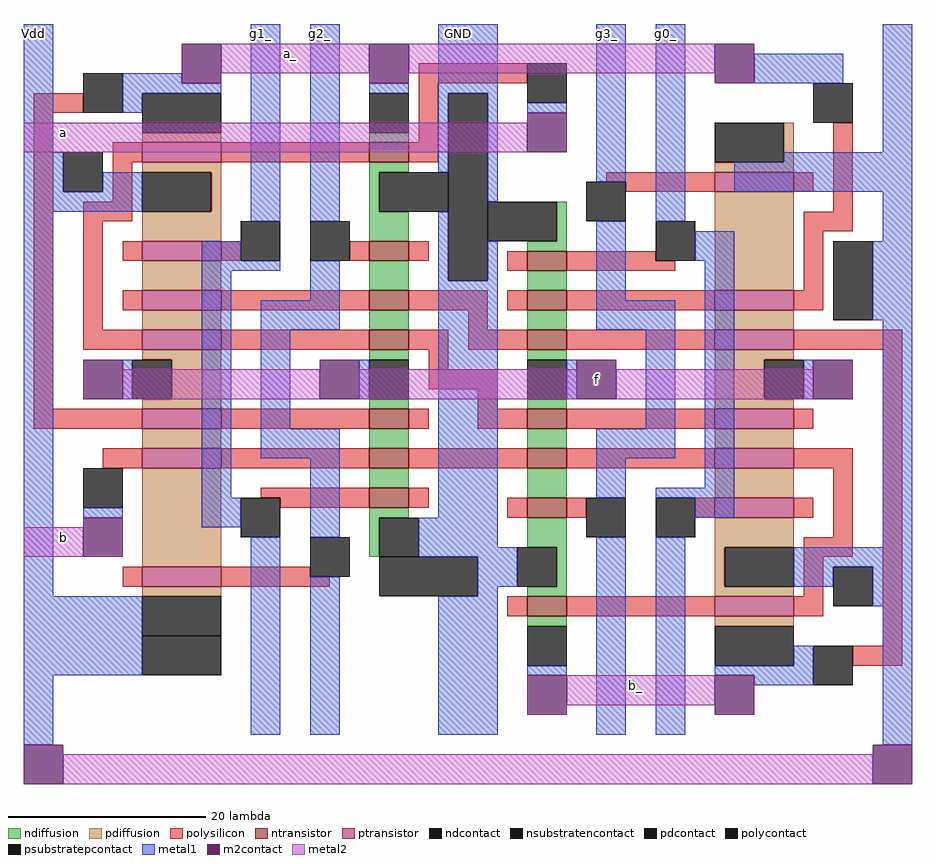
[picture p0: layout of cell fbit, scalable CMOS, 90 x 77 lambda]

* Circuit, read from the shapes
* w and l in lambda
.subckt fbit GND Vdd a a_ b b_ f g0_ g1_ g2_ g3_
M1 n1 g1_ GND GND nfet w=4 l=2
M2 n2 b n1 GND nfet w=4 l=2
M3 f a_ n2 GND nfet w=4 l=2
M4 n3 a f GND nfet w=4 l=2
M5 n4 b_ n3 GND nfet w=4 l=2
M6 GND g2_ n4 GND nfet w=4 l=2
M7 a_ a GND GND nfet w=4 l=2
M8 GND b b_ GND nfet w=4 l=2
M9 n5 g3_ GND GND nfet w=4 l=2
M10 n6 b n5 GND nfet w=4 l=2
M11 f a n6 GND nfet w=4 l=2
M12 n7 b_ f GND nfet w=4 l=2
M13 n8 a_ n7 GND nfet w=4 l=2
M14 GND g0_ n8 GND nfet w=4 l=2
M15 n9 g2_ Vdd Vdd pfet w=8 l=2
M16 n10 b n9 Vdd pfet w=8 l=2
M17 f a_ n10 Vdd pfet w=8 l=2
M18 n11 a f Vdd pfet w=8 l=2
M19 n12 b_ n11 Vdd pfet w=8 l=2
M20 Vdd g1_ n12 Vdd pfet w=8 l=2
M21 a_ a Vdd Vdd pfet w=8 l=2
M22 Vdd b b_ Vdd pfet w=8 l=2
M23 n13 g0_ Vdd Vdd pfet w=8 l=2
M24 n14 b n13 Vdd pfet w=8 l=2
M25 f a n14 Vdd pfet w=8 l=2
M26 n15 b_ f Vdd pfet w=8 l=2
M27 n16 a_ n15 Vdd pfet w=8 l=2
M28 Vdd g3_ n16 Vdd pfet w=8 l=2
.ends

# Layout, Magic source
magic
tech scmos
<< polysilicon >>
rect 1 63 6 65
rect 40 66 51 68
rect 1 33 3 63
rect 40 60 42 66
rect 9 58 12 60
rect 20 58 35 60
rect 39 58 42 60
rect 9 54 11 58
rect 6 52 11 54
rect 6 41 8 52
rect 10 48 12 50
rect 20 48 22 50
rect 33 48 35 50
rect 39 48 41 50
rect 59 56 70 57
rect 61 55 70 56
rect 78 55 80 57
rect 49 47 51 49
rect 55 48 64 49
rect 55 47 66 48
rect 82 53 84 62
rect 79 51 84 53
rect 79 45 81 51
rect 10 43 12 45
rect 20 43 35 45
rect 39 43 47 45
rect 49 43 51 45
rect 55 43 70 45
rect 78 43 81 45
rect 45 41 47 43
rect 6 39 12 41
rect 20 39 35 41
rect 39 39 43 41
rect 45 39 51 41
rect 55 39 70 41
rect 78 39 89 41
rect 41 37 43 39
rect 41 35 48 37
rect 46 33 48 35
rect 1 31 12 33
rect 20 31 35 33
rect 39 31 41 33
rect 46 31 51 33
rect 55 31 70 33
rect 78 31 80 33
rect 8 27 12 29
rect 20 27 35 29
rect 39 27 51 29
rect 55 27 70 29
rect 78 27 84 29
rect 24 24 35 25
rect 26 23 35 24
rect 39 23 41 25
rect 49 22 51 24
rect 55 22 57 24
rect 10 15 12 17
rect 20 16 29 17
rect 68 22 70 24
rect 78 22 80 24
rect 20 15 31 16
rect 82 20 84 27
rect 79 18 84 20
rect 79 14 81 18
rect 49 12 51 14
rect 55 12 70 14
rect 78 12 81 14
rect 87 9 89 39
rect 84 7 89 9
<< ndiffusion >>
rect 35 60 39 61
rect 35 57 39 58
rect 35 53 36 57
rect 35 50 39 53
rect 35 45 39 48
rect 54 50 55 54
rect 51 49 55 50
rect 51 45 55 47
rect 35 41 39 43
rect 51 41 55 43
rect 35 38 39 39
rect 51 38 55 39
rect 35 33 39 34
rect 51 33 55 34
rect 35 29 39 31
rect 51 29 55 31
rect 35 25 39 27
rect 51 24 55 27
rect 35 22 39 23
rect 35 18 36 22
rect 51 19 55 22
rect 54 15 55 19
rect 51 14 55 15
rect 51 11 55 12
<< pdiffusion >>
rect 12 60 20 61
rect 12 57 20 58
rect 19 53 20 57
rect 12 50 20 53
rect 12 45 20 48
rect 77 58 78 62
rect 70 57 78 58
rect 70 45 78 55
rect 12 41 20 43
rect 70 41 78 43
rect 12 38 20 39
rect 15 34 20 38
rect 12 33 20 34
rect 70 38 78 39
rect 70 34 75 38
rect 70 33 78 34
rect 12 29 20 31
rect 70 29 78 31
rect 12 17 20 27
rect 70 24 78 27
rect 12 14 20 15
rect 70 19 78 22
rect 70 15 71 19
rect 70 14 78 15
rect 70 11 78 12
<< metal1 >>
rect 0 59 3 72
rect 10 66 16 67
rect 10 65 20 66
rect 10 63 12 65
rect 0 55 4 59
rect 8 55 12 57
rect 0 53 12 55
rect 0 14 3 53
rect 23 52 26 72
rect 18 48 22 50
rect 18 47 26 48
rect 29 52 32 72
rect 35 65 39 66
rect 42 65 48 72
rect 42 57 43 65
rect 10 34 11 38
rect 6 22 10 23
rect 18 24 21 47
rect 29 44 32 48
rect 24 41 32 44
rect 42 46 43 53
rect 47 54 48 65
rect 51 63 55 64
rect 58 56 61 72
rect 47 46 48 50
rect 24 31 27 41
rect 34 34 35 38
rect 24 28 32 31
rect 18 21 22 24
rect 0 6 12 14
rect 0 -1 3 6
rect 23 0 26 20
rect 29 20 32 28
rect 42 22 48 46
rect 58 44 61 52
rect 64 52 67 72
rect 74 66 83 69
rect 87 59 90 72
rect 77 58 90 59
rect 72 55 90 58
rect 68 48 72 51
rect 87 50 90 55
rect 58 41 66 44
rect 55 34 56 38
rect 63 31 66 41
rect 58 28 66 31
rect 58 24 61 28
rect 69 25 72 48
rect 86 42 90 50
rect 79 34 80 38
rect 40 19 48 22
rect 40 18 50 19
rect 29 0 32 16
rect 46 15 50 18
rect 46 14 48 15
rect 42 0 48 14
rect 51 6 55 7
rect 58 0 61 20
rect 64 24 72 25
rect 68 22 72 24
rect 64 0 67 20
rect 87 19 90 42
rect 78 17 90 19
rect 78 15 82 17
rect 86 13 90 17
rect 78 7 80 9
rect 70 6 80 7
rect 74 5 80 6
rect 87 -1 90 13
<< metal2 >>
rect 20 67 35 70
rect 39 67 70 70
rect 0 59 51 62
rect 10 34 30 37
rect 34 34 56 37
rect 60 34 80 37
rect 0 18 6 21
rect 55 3 70 6
rect 4 -5 86 -2
<< ntransistor >>
rect 35 58 39 60
rect 35 48 39 50
rect 51 47 55 49
rect 35 43 39 45
rect 51 43 55 45
rect 35 39 39 41
rect 51 39 55 41
rect 35 31 39 33
rect 51 31 55 33
rect 35 27 39 29
rect 51 27 55 29
rect 35 23 39 25
rect 51 22 55 24
rect 51 12 55 14
<< ptransistor >>
rect 12 58 20 60
rect 12 48 20 50
rect 70 55 78 57
rect 12 43 20 45
rect 70 43 78 45
rect 12 39 20 41
rect 70 39 78 41
rect 12 31 20 33
rect 70 31 78 33
rect 12 27 20 29
rect 70 27 78 29
rect 12 15 20 17
rect 70 22 78 24
rect 70 12 78 14
<< polycontact >>
rect 6 63 10 67
rect 22 48 26 52
rect 29 48 33 52
rect 51 64 55 68
rect 80 62 84 66
rect 57 52 61 56
rect 64 48 68 52
rect 6 23 10 27
rect 22 20 26 24
rect 29 16 33 20
rect 57 20 61 24
rect 64 20 68 24
rect 80 5 84 9
<< ndcontact >>
rect 35 61 39 65
rect 36 53 43 57
rect 47 50 54 54
rect 35 34 39 38
rect 51 34 55 38
rect 36 18 40 22
rect 50 15 54 19
rect 51 7 55 11
<< pdcontact >>
rect 12 61 20 65
rect 12 53 19 57
rect 70 58 77 62
rect 11 34 15 38
rect 75 34 79 38
rect 71 15 78 19
rect 12 10 20 14
rect 70 7 78 11
<< m2contact >>
rect 16 66 20 70
rect 35 66 39 70
rect 6 34 10 38
rect 6 18 10 22
rect 51 59 55 63
rect 30 34 34 38
rect 70 66 74 70
rect 56 34 60 38
rect 80 34 84 38
rect 51 2 55 6
rect 70 2 74 6
rect 0 -5 4 -1
rect 86 -5 90 -1
<< psubstratepcontact >>
rect 43 46 47 65
rect 36 14 46 18
<< nsubstratencontact >>
rect 4 55 8 59
rect 82 42 86 50
rect 82 13 86 17
rect 12 6 20 10
<< labels >>
rlabel metal2 4 20 4 20 3 b
rlabel metal2 62 5 62 5 1 b_
rlabel metal2 27 69 27 69 5 a_
rlabel metal1 24 71 24 71 5 g1_
rlabel metal1 30 71 30 71 5 g2_
rlabel metal1 65 71 65 71 5 g0_
rlabel metal1 59 71 59 71 5 g3_
rlabel metal1 44 71 44 71 5 GND
rlabel metal1 1 71 1 71 4 Vdd
rlabel metal2 4 61 4 61 3 a
rlabel m2contact 58 36 58 36 1 f
<< end >>
